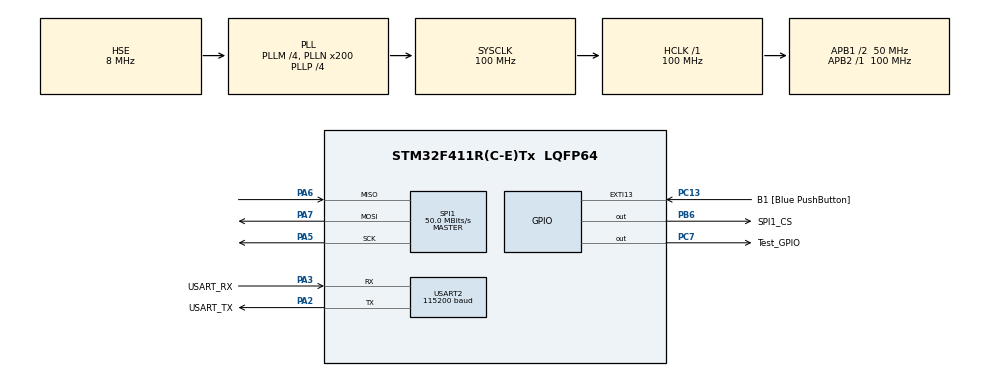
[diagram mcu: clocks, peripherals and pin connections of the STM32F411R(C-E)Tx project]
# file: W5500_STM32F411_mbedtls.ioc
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Dma.Request0=SPI1_TX
Dma.Request1=SPI1_RX
Dma.SPI1_RX.1.Direction=DMA_PERIPH_TO_MEMORY
Dma.SPI1_RX.1.FIFOMode=DMA_FIFOMODE_DISABLE
Dma.SPI1_RX.1.Instance=DMA2_Stream0
Dma.SPI1_RX.1.MemDataAlignment=DMA_MDATAALIGN_BYTE
Dma.SPI1_RX.1.MemInc=DMA_MINC_ENABLE
Dma.SPI1_RX.1.Mode=DMA_NORMAL
Dma.SPI1_RX.1.PeriphDataAlignment=DMA_PDATAALIGN_BYTE
Dma.SPI1_RX.1.PeriphInc=DMA_PINC_DISABLE
Dma.SPI1_RX.1.Priority=DMA_PRIORITY_HIGH
Dma.SPI1_TX.0.Direction=DMA_MEMORY_TO_PERIPH
Dma.SPI1_TX.0.FIFOMode=DMA_FIFOMODE_DISABLE
Dma.SPI1_TX.0.Instance=DMA2_Stream2
Dma.SPI1_TX.0.MemDataAlignment=DMA_MDATAALIGN_BYTE
Dma.SPI1_TX.0.MemInc=DMA_MINC_ENABLE
Dma.SPI1_TX.0.Mode=DMA_NORMAL
Dma.SPI1_TX.0.PeriphDataAlignment=DMA_PDATAALIGN_BYTE
Dma.SPI1_TX.0.PeriphInc=DMA_PINC_DISABLE
Dma.SPI1_TX.0.Priority=DMA_PRIORITY_HIGH
Mcu.Family=STM32F4
Mcu.Name=STM32F411R(C-E)Tx
Mcu.Package=LQFP64
NVIC.DMA2_Stream0_IRQn=true\:0\:0\:false\:false\:true\:false\:true\:true
NVIC.DMA2_Stream2_IRQn=true\:0\:0\:false\:false\:true\:false\:true\:true
NVIC.PriorityGroup=NVIC_PRIORITYGROUP_0
NVIC.SPI1_IRQn=true\:0\:0\:true\:false\:true\:true\:true\:true
NVIC.TIM1_UP_TIM10_IRQn=true\:0\:0\:false\:false\:true\:true\:true\:true
PA13.GPIO_Label=TMS
PA13.Mode=Serial_Wire
PA13.Signal=SYS_JTMS-SWDIO
PA14.GPIO_Label=TCK
PA14.Mode=Serial_Wire
PA14.Signal=SYS_JTCK-SWCLK
PA2.GPIO_Label=USART_TX
PA2.Mode=Asynchronous
PA2.Signal=USART2_TX
PA3.GPIO_Label=USART_RX
PA3.Mode=Asynchronous
PA3.Signal=USART2_RX
PA5.Mode=Full_Duplex_Master
PA5.Signal=SPI1_SCK
PA6.Mode=Full_Duplex_Master
PA6.Signal=SPI1_MISO
PA7.Mode=Full_Duplex_Master
PA7.Signal=SPI1_MOSI
PB3.GPIO_Label=SWO
PB3.Signal=SYS_JTDO-SWO
PB6.GPIO_Label=SPI1_CS
PB6.Signal=GPIO_Output
PC13-ANTI_TAMP.GPIO_Label=B1 [Blue PushButton]
PC13-ANTI_TAMP.GPIO_ModeDefaultEXTI=GPIO_MODE_IT_FALLING
PC13-ANTI_TAMP.Signal=GPXTI13
PC14-OSC32_IN.Mode=LSE-External-Oscillator
PC14-OSC32_IN.Signal=RCC_OSC32_IN
PC15-OSC32_OUT.Mode=LSE-External-Oscillator
PC15-OSC32_OUT.Signal=RCC_OSC32_OUT
PC7.GPIO_Label=Test_GPIO
PC7.GPIO_Speed=GPIO_SPEED_FREQ_VERY_HIGH
PC7.Signal=GPIO_Output
PH0\ -\ OSC_IN.Mode=HSE-External-Clock-Source
PH0\ -\ OSC_IN.Signal=RCC_OSC_IN
PH1\ -\ OSC_OUT.Mode=HSE-External-Clock-Source
PH1\ -\ OSC_OUT.Signal=RCC_OSC_OUT
ProjectManager.HeapSize=0xF000
ProjectManager.StackSize=0xB00
ProjectManager.TargetToolchain=MDK-ARM V5.32
RCC.48MHZClocksFreq_Value=100000000
RCC.AHBFreq_Value=100000000
RCC.APB1CLKDivider=RCC_HCLK_DIV2
RCC.APB1Freq_Value=50000000
RCC.APB1TimFreq_Value=100000000
RCC.APB2Freq_Value=100000000
RCC.APB2TimFreq_Value=100000000
RCC.CortexFreq_Value=100000000
RCC.FLatency-AdvancedSettings=FLASH_LATENCY_3
RCC.HCLKFreq_Value=100000000
RCC.HSE_VALUE=8000000
RCC.HSI_VALUE=16000000
RCC.PLLM=4
RCC.PLLN=200
RCC.PLLP=RCC_PLLP_DIV4
RCC.PLLSourceVirtual=RCC_PLLSOURCE_HSE
RCC.SYSCLKFreq_VALUE=100000000
RCC.SYSCLKSource=RCC_SYSCLKSOURCE_PLLCLK
RCC.VCOOutputFreq_Value=400000000
SPI1.BaudRatePrescaler=SPI_BAUDRATEPRESCALER_2
SPI1.CLKPhase=SPI_PHASE_1EDGE
SPI1.CLKPolarity=SPI_POLARITY_LOW
SPI1.CalculateBaudRate=50.0 MBits/s
SPI1.Direction=SPI_DIRECTION_2LINES
SPI1.Mode=SPI_MODE_MASTER
SPI1.VirtualType=VM_MASTER
TIM1.Period=1000-1
TIM1.Prescaler=100-1
USART2.BaudRate=115200
USART2.VirtualMode=VM_ASYNC
VP_TIM1_VS_ClockSourceINT.Mode=Internal
board=NUCLEO-F411RE

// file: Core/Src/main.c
/* USER CODE BEGIN Header */
/**
 ******************************************************************************
 * @file           : main.c
 * @brief          : Main program body
 ******************************************************************************
 * @attention
 *
 * Copyright (c) 2023 STMicroelectronics.
 * All rights reserved.
 *
 * This software is licensed under terms that can be found in the LICENSE file
 * in the root directory of this software component.
 * If no LICENSE file comes with this software, it is provided AS-IS.
 *
 ******************************************************************************
 */
/* USER CODE END Header */
#include "main.h"

/* USER CODE BEGIN Includes */
#include <stdio.h>
#include <stdarg.h>
#include <stdlib.h>
#include <string.h>
#include <stdint.h>
#include <stdbool.h>

#include "port_common.h"

#include "wizchip_conf.h"
#include "socket.h"

#include "w5x00_spi.h"

#include <time.h>
#include "timer/timer.h"

#include "mbedtls/ssl.h"
#include "mbedtls/x509_crt.h"
#include "mbedtls/error.h"
#include "mbedtls/ssl.h"
#include "mbedtls/ctr_drbg.h"
/* USER CODE END Includes */

/* USER CODE BEGIN PD */
#define PUTCHAR_PROTOTYPE int fputc(int ch, FILE *f)

#define ETHERNET_BUF_MAX_SIZE (1024 * 2)
#define SOCKET_SSL 0
#define PORT_SSL 443
/* USER CODE END PD */

SPI_HandleTypeDef hspi1;
DMA_HandleTypeDef hdma_spi1_tx;
DMA_HandleTypeDef hdma_spi1_rx;

TIM_HandleTypeDef htim1;

UART_HandleTypeDef huart2;

/* USER CODE BEGIN PV */
static wiz_NetInfo g_net_info =
    {
        .mac = {0x00, 0x08, 0xDC, 0x12, 0x34, 0x56}, // MAC address
        .ip = {192, 168, 11, 8},                     // IP address
        .sn = {255, 255, 255, 0},                    // Subnet Mask
        .gw = {192, 168, 11, 1},                     // Gateway
        .dns = {168, 126, 63, 1},                    // DNS server
        .dhcp = NETINFO_STATIC                       // DHCP enable/disable
};

static uint8_t g_ssl_buf[ETHERNET_BUF_MAX_SIZE] = {
    0,
};
static uint8_t g_ssl_target_ip[4] = {192, 168, 11, 2};

static mbedtls_ctr_drbg_context g_ctr_drbg;
static mbedtls_ssl_config g_conf;
static mbedtls_ssl_context g_ssl;
static volatile uint32_t g_msec_cnt = 0;

/* USER CODE END PV */

void SystemClock_Config(void);
static void MX_GPIO_Init(void);
static void MX_DMA_Init(void);
static void MX_SPI1_Init(void);
static void MX_USART2_UART_Init(void);
static void MX_TIM1_Init(void);
/* USER CODE BEGIN PFP */
static int wizchip_ssl_init(uint8_t *socket_fd);
static int ssl_random_callback(void *p_rng, unsigned char *output, size_t output_len);
static int recv_timeout(void *ctx, unsigned char *buf, size_t len, uint32_t timeout);

static void repeating_timer_callback(void);
static time_t millis(void);
// TIM_HandleTypeDef htim1;

/* USER CODE END PFP */

/* USER CODE BEGIN 0 */
void HAL_TIM_PeriodElapsedCallback(TIM_HandleTypeDef *htim)
{
  if (htim->Instance == TIM1)
  {
    HAL_IncTick();
    repeating_timer_callback();
  }
}
/* USER CODE END 0 */

int main(void)
{

  /* USER CODE BEGIN 1 */
  int retval = 0;
  const int *list = NULL;
  uint16_t len = 0;
  uint32_t start_ms = 0;
  /* USER CODE END 1 */

  /* MCU Configuration--------------------------------------------------------*/

  /* Reset of all peripherals, Initializes the Flash interface and the Systick. */
  HAL_Init();

  /* Configure the system clock */
  SystemClock_Config();

  /* Initialize all configured peripherals */
  MX_GPIO_Init();
  MX_DMA_Init();
  MX_SPI1_Init();
  MX_USART2_UART_Init();
  MX_TIM1_Init();
  /* USER CODE BEGIN 2 */
	HAL_TIM_Base_Start_IT(&htim1);
  HAL_Delay(500);
  //	stdio_init_all();

  wizchip_spi_initialize();
  // wizchip_cris_initialize();

  wizchip_reset();
  wizchip_initialize();
  wizchip_check();

  //wizchip_1ms_timer_initialize(repeating_timer_callback);

  network_initialize(g_net_info);

  /* Get network information */
  print_network_information(g_net_info);

  retval = wizchip_ssl_init(SOCKET_SSL);

  if (retval < 0)
  {
    printf(" SSL initialize failed %d\n", retval);

    while (1)
      ;
  }
  printf(" Supported ciphersuite lists\n");

  list = mbedtls_ssl_list_ciphersuites();

  while (*list)
  {
    printf(" %-42s\n", mbedtls_ssl_get_ciphersuite_name(*list));

    list++;

    if (!*list)
    {
      break;
    }

    printf(" %s\n", mbedtls_ssl_get_ciphersuite_name(*list));

    list++;
  }

  retval = socket((uint8_t)(g_ssl.private_p_bio), Sn_MR_TCP, PORT_SSL, SF_TCP_NODELAY);

  if (retval != SOCKET_SSL)
  {
    printf(" Socket failed %d\n", retval);

    while (1)
      ;
  }

  start_ms = millis();

  do
  {
    retval = connect((uint8_t)(g_ssl.private_p_bio), g_ssl_target_ip, PORT_SSL);

    if ((retval == SOCK_OK) || (retval == SOCKERR_TIMEOUT))
    {
      break;
    }
  } while ((millis() - start_ms) < RECV_TIMEOUT);

  if ((retval != SOCK_OK) || (retval == SOCK_BUSY))
  {
    printf(" Connect failed %d\n", retval);

    while (1)
      ;
  }

  printf(" Connected %d\n", retval);

  while ((retval = mbedtls_ssl_handshake(&g_ssl)) != 0)
  {
    if ((retval != MBEDTLS_ERR_SSL_WANT_READ) && (retval != MBEDTLS_ERR_SSL_WANT_WRITE))
    {
      printf(" failed\n  ! mbedtls_ssl_handshake returned -0x%x\n", -retval);

      while (1)
        ;
    }
  }

  printf(" ok\n    [ Ciphersuite is %s ]\n", mbedtls_ssl_get_ciphersuite(&g_ssl));

  memset(g_ssl_buf, 0x00, ETHERNET_BUF_MAX_SIZE);
  strcpy(g_ssl_buf, " W5x00 TCP over SSL test\n");

  mbedtls_ssl_write(&g_ssl, g_ssl_buf, strlen(g_ssl_buf));
  /* USER CODE END 2 */

  /* Infinite loop */
  while (1)
  {

    /* USER CODE BEGIN 3 */
    getsockopt((uint8_t)(g_ssl.private_p_bio), SO_RECVBUF, &len);

    if (len > 0)
    {
      if (len > ETHERNET_BUF_MAX_SIZE)
      {
        len = ETHERNET_BUF_MAX_SIZE;
      }

      memset(g_ssl_buf, 0x00, ETHERNET_BUF_MAX_SIZE);

      mbedtls_ssl_read(&g_ssl, g_ssl_buf, len);

      printf("%s", g_ssl_buf);
    }
  }
  /* USER CODE END 3 */
}

void SystemClock_Config(void)
{
  RCC_OscInitTypeDef RCC_OscInitStruct = {0};
  RCC_ClkInitTypeDef RCC_ClkInitStruct = {0};

  /** Configure the main internal regulator output voltage
  */
  __HAL_RCC_PWR_CLK_ENABLE();
  __HAL_PWR_VOLTAGESCALING_CONFIG(PWR_REGULATOR_VOLTAGE_SCALE1);

  /** Initializes the RCC Oscillators according to the specified parameters
  * in the RCC_OscInitTypeDef structure.
  */
  RCC_OscInitStruct.OscillatorType = RCC_OSCILLATORTYPE_HSE;
  RCC_OscInitStruct.HSEState = RCC_HSE_BYPASS;
  RCC_OscInitStruct.PLL.PLLState = RCC_PLL_ON;
  RCC_OscInitStruct.PLL.PLLSource = RCC_PLLSOURCE_HSE;
  RCC_OscInitStruct.PLL.PLLM = 4;
  RCC_OscInitStruct.PLL.PLLN = 200;
  RCC_OscInitStruct.PLL.PLLP = RCC_PLLP_DIV4;
  RCC_OscInitStruct.PLL.PLLQ = 4;
  if (HAL_RCC_OscConfig(&RCC_OscInitStruct) != HAL_OK)
  {
    Error_Handler();
  }

  /** Initializes the CPU, AHB and APB buses clocks
  */
  RCC_ClkInitStruct.ClockType = RCC_CLOCKTYPE_HCLK|RCC_CLOCKTYPE_SYSCLK
                              |RCC_CLOCKTYPE_PCLK1|RCC_CLOCKTYPE_PCLK2;
  RCC_ClkInitStruct.SYSCLKSource = RCC_SYSCLKSOURCE_PLLCLK;
  RCC_ClkInitStruct.AHBCLKDivider = RCC_SYSCLK_DIV1;
  RCC_ClkInitStruct.APB1CLKDivider = RCC_HCLK_DIV2;
  RCC_ClkInitStruct.APB2CLKDivider = RCC_HCLK_DIV1;

  if (HAL_RCC_ClockConfig(&RCC_ClkInitStruct, FLASH_LATENCY_3) != HAL_OK)
  {
    Error_Handler();
  }
}

static void MX_SPI1_Init(void)
{

  /* SPI1 parameter configuration*/
  hspi1.Instance = SPI1;
  hspi1.Init.Mode = SPI_MODE_MASTER;
  hspi1.Init.Direction = SPI_DIRECTION_2LINES;
  hspi1.Init.DataSize = SPI_DATASIZE_8BIT;
  hspi1.Init.CLKPolarity = SPI_POLARITY_LOW;
  hspi1.Init.CLKPhase = SPI_PHASE_1EDGE;
  hspi1.Init.NSS = SPI_NSS_SOFT;
  hspi1.Init.BaudRatePrescaler = SPI_BAUDRATEPRESCALER_2;
  hspi1.Init.FirstBit = SPI_FIRSTBIT_MSB;
  hspi1.Init.TIMode = SPI_TIMODE_DISABLE;
  hspi1.Init.CRCCalculation = SPI_CRCCALCULATION_DISABLE;
  hspi1.Init.CRCPolynomial = 10;
  if (HAL_SPI_Init(&hspi1) != HAL_OK)
  {
    Error_Handler();
  }

}

static void MX_TIM1_Init(void)
{

  TIM_ClockConfigTypeDef sClockSourceConfig = {0};
  TIM_MasterConfigTypeDef sMasterConfig = {0};

  htim1.Instance = TIM1;
  htim1.Init.Prescaler = 100-1;
  htim1.Init.CounterMode = TIM_COUNTERMODE_UP;
  htim1.Init.Period = 1000-1;
  htim1.Init.ClockDivision = TIM_CLOCKDIVISION_DIV1;
  htim1.Init.RepetitionCounter = 0;
  htim1.Init.AutoReloadPreload = TIM_AUTORELOAD_PRELOAD_DISABLE;
  if (HAL_TIM_Base_Init(&htim1) != HAL_OK)
  {
    Error_Handler();
  }
  sClockSourceConfig.ClockSource = TIM_CLOCKSOURCE_INTERNAL;
  if (HAL_TIM_ConfigClockSource(&htim1, &sClockSourceConfig) != HAL_OK)
  {
    Error_Handler();
  }
  sMasterConfig.MasterOutputTrigger = TIM_TRGO_RESET;
  sMasterConfig.MasterSlaveMode = TIM_MASTERSLAVEMODE_DISABLE;
  if (HAL_TIMEx_MasterConfigSynchronization(&htim1, &sMasterConfig) != HAL_OK)
  {
    Error_Handler();
  }

}

static void MX_USART2_UART_Init(void)
{

  huart2.Instance = USART2;
  huart2.Init.BaudRate = 115200;
  huart2.Init.WordLength = UART_WORDLENGTH_8B;
  huart2.Init.StopBits = UART_STOPBITS_1;
  huart2.Init.Parity = UART_PARITY_NONE;
  huart2.Init.Mode = UART_MODE_TX_RX;
  huart2.Init.HwFlowCtl = UART_HWCONTROL_NONE;
  huart2.Init.OverSampling = UART_OVERSAMPLING_16;
  if (HAL_UART_Init(&huart2) != HAL_OK)
  {
    Error_Handler();
  }

}

static void MX_DMA_Init(void)
{

  /* DMA controller clock enable */
  __HAL_RCC_DMA2_CLK_ENABLE();

  /* DMA interrupt init */
  /* DMA2_Stream0_IRQn interrupt configuration */
  HAL_NVIC_SetPriority(DMA2_Stream0_IRQn, 0, 0);
  HAL_NVIC_EnableIRQ(DMA2_Stream0_IRQn);
  /* DMA2_Stream2_IRQn interrupt configuration */
  HAL_NVIC_SetPriority(DMA2_Stream2_IRQn, 0, 0);
  HAL_NVIC_EnableIRQ(DMA2_Stream2_IRQn);

}

static void MX_GPIO_Init(void)
{
  GPIO_InitTypeDef GPIO_InitStruct = {0};

  /* GPIO Ports Clock Enable */
  __HAL_RCC_GPIOC_CLK_ENABLE();
  __HAL_RCC_GPIOH_CLK_ENABLE();
  __HAL_RCC_GPIOA_CLK_ENABLE();
  __HAL_RCC_GPIOB_CLK_ENABLE();

  /*Configure GPIO pin Output Level */
  HAL_GPIO_WritePin(Test_GPIO_GPIO_Port, Test_GPIO_Pin, GPIO_PIN_RESET);

  /*Configure GPIO pin Output Level */
  HAL_GPIO_WritePin(SPI1_CS_GPIO_Port, SPI1_CS_Pin, GPIO_PIN_RESET);

  /*Configure GPIO pin : B1_Pin */
  GPIO_InitStruct.Pin = B1_Pin;
  GPIO_InitStruct.Mode = GPIO_MODE_IT_FALLING;
  GPIO_InitStruct.Pull = GPIO_NOPULL;
  HAL_GPIO_Init(B1_GPIO_Port, &GPIO_InitStruct);

  /*Configure GPIO pin : Test_GPIO_Pin */
  GPIO_InitStruct.Pin = Test_GPIO_Pin;
  GPIO_InitStruct.Mode = GPIO_MODE_OUTPUT_PP;
  GPIO_InitStruct.Pull = GPIO_NOPULL;
  GPIO_InitStruct.Speed = GPIO_SPEED_FREQ_VERY_HIGH;
  HAL_GPIO_Init(Test_GPIO_GPIO_Port, &GPIO_InitStruct);

  /*Configure GPIO pin : SPI1_CS_Pin */
  GPIO_InitStruct.Pin = SPI1_CS_Pin;
  GPIO_InitStruct.Mode = GPIO_MODE_OUTPUT_PP;
  GPIO_InitStruct.Pull = GPIO_NOPULL;
  GPIO_InitStruct.Speed = GPIO_SPEED_FREQ_LOW;
  HAL_GPIO_Init(SPI1_CS_GPIO_Port, &GPIO_InitStruct);

}

/* USER CODE BEGIN 4 */

PUTCHAR_PROTOTYPE
{
  /* Implement your write code here, this is used by puts and printf for example */

  /* Place your implementation of fputc here */
  /* e.g. write a character to the USART */

  uint8_t c[1];
  c[0] = ch & 0x00FF;
  HAL_UART_Transmit(&huart2, &c[0], 1, 10);
  return ch;
}

static int wizchip_ssl_init(uint8_t *socket_fd)
{
  int retval;

  mbedtls_ctr_drbg_init(&g_ctr_drbg);
  mbedtls_ssl_init(&g_ssl);
  mbedtls_ssl_config_init(&g_conf);

  if ((retval = mbedtls_ssl_config_defaults(&g_conf,
                                            MBEDTLS_SSL_IS_CLIENT,
                                            MBEDTLS_SSL_TRANSPORT_STREAM,
                                            MBEDTLS_SSL_PRESET_DEFAULT)) != 0)
  {
    printf(" failed\n  ! mbedtls_ssl_config_defaults returned %d\n", retval);

    return -1;
  }

  printf(" Socket descriptor %d\n", socket_fd);

  mbedtls_ssl_conf_authmode(&g_conf, MBEDTLS_SSL_VERIFY_NONE);
  mbedtls_ssl_conf_rng(&g_conf, ssl_random_callback, &g_ctr_drbg);
  mbedtls_ssl_conf_endpoint(&g_conf, MBEDTLS_SSL_IS_CLIENT);
  mbedtls_ssl_conf_read_timeout(&g_conf, 1000 * 10);

  if ((retval = mbedtls_ssl_setup(&g_ssl, &g_conf)) != 0)
  {
    printf(" failed\n  ! mbedtls_ssl_setup returned -0x%X\n", -retval);

    return -1;
  }

  mbedtls_ssl_set_bio(&g_ssl, socket_fd, send, recv, recv_timeout);
}

static int ssl_random_callback(void *p_rng, unsigned char *output, size_t output_len)
{
  int i;

  if (output_len <= 0)
  {
    return 1;
  }

  for (i = 0; i < output_len; i++)
  {
    *output++ = rand() % 0xff;
  }

  srand(rand());

  return 0;
}

static int recv_timeout(void *ctx, unsigned char *buf, size_t len, uint32_t timeout)
{
  uint16_t recv_len = 0;
  uint32_t start_ms = millis();

  do
  {
    getsockopt((uint8_t)(ctx), SO_RECVBUF, &recv_len);

    if (recv_len > 0)
    {
      return recv((uint8_t)ctx, (uint8_t *)buf, (uint16_t)len);
    }
  } while ((millis() - start_ms) < timeout);

  return MBEDTLS_ERR_SSL_TIMEOUT;
}

/* Timer */
static void repeating_timer_callback(void)
{
  g_msec_cnt++;
}

static time_t millis(void)
{
  return g_msec_cnt;
}
/* USER CODE END 4 */

void Error_Handler(void)
{
  __disable_irq();
  while (1)
  {
  }
}
